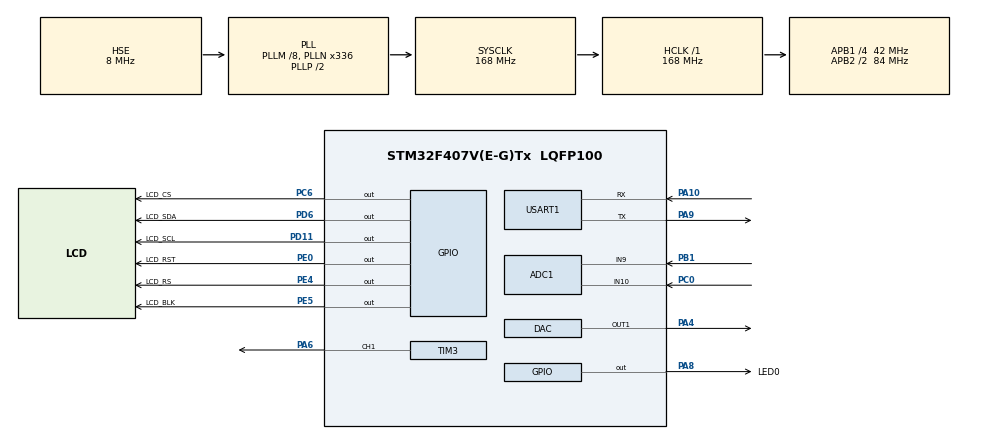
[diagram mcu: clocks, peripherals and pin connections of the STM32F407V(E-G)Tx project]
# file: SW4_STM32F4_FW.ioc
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ADC1.Channel-0\#ChannelRegularConversion=ADC_CHANNEL_9
ADC1.Channel-1\#ChannelRegularConversion=ADC_CHANNEL_10
ADC1.Channel-2\#ChannelRegularConversion=ADC_CHANNEL_TEMPSENSOR
ADC1.ContinuousConvMode=ENABLE
ADC1.DMAContinuousRequests=ENABLE
ADC1.NbrOfConversion=3
ADC1.NbrOfConversionFlag=1
ADC1.Rank-0\#ChannelRegularConversion=1
ADC1.Rank-1\#ChannelRegularConversion=2
ADC1.Rank-2\#ChannelRegularConversion=3
ADC1.SamplingTime-0\#ChannelRegularConversion=ADC_SAMPLETIME_144CYCLES
ADC1.SamplingTime-1\#ChannelRegularConversion=ADC_SAMPLETIME_144CYCLES
ADC1.SamplingTime-2\#ChannelRegularConversion=ADC_SAMPLETIME_144CYCLES
ADC1.ScanConvMode=ENABLE
ADC1.master=1
DAC.DAC_Trigger=DAC_TRIGGER_T6_TRGO
DAC.TriangleAmplitude=DAC_TRIANGLEAMPLITUDE_4095
DAC.WaveGeneration=TriangleWaveGeneration
Dma.ADC1.0.Direction=DMA_PERIPH_TO_MEMORY
Dma.ADC1.0.FIFOMode=DMA_FIFOMODE_DISABLE
Dma.ADC1.0.Instance=DMA2_Stream0
Dma.ADC1.0.MemDataAlignment=DMA_MDATAALIGN_HALFWORD
Dma.ADC1.0.MemInc=DMA_MINC_ENABLE
Dma.ADC1.0.Mode=DMA_NORMAL
Dma.ADC1.0.PeriphDataAlignment=DMA_PDATAALIGN_HALFWORD
Dma.ADC1.0.PeriphInc=DMA_PINC_DISABLE
Dma.ADC1.0.Priority=DMA_PRIORITY_LOW
Dma.DAC1.1.Direction=DMA_MEMORY_TO_PERIPH
Dma.DAC1.1.FIFOMode=DMA_FIFOMODE_DISABLE
Dma.DAC1.1.Instance=DMA1_Stream5
Dma.DAC1.1.MemDataAlignment=DMA_MDATAALIGN_HALFWORD
Dma.DAC1.1.MemInc=DMA_MINC_ENABLE
Dma.DAC1.1.Mode=DMA_NORMAL
Dma.DAC1.1.PeriphDataAlignment=DMA_PDATAALIGN_HALFWORD
Dma.DAC1.1.PeriphInc=DMA_PINC_DISABLE
Dma.DAC1.1.Priority=DMA_PRIORITY_LOW
Dma.Request0=ADC1
Dma.Request1=DAC1
Mcu.Family=STM32F4
Mcu.Name=STM32F407V(E-G)Tx
Mcu.Package=LQFP100
NVIC.ADC_IRQn=true\:2\:0\:true\:false\:true\:true\:true
NVIC.DMA1_Stream5_IRQn=true\:1\:0\:true\:false\:true\:false\:true
NVIC.DMA2_Stream0_IRQn=true\:1\:0\:true\:false\:true\:false\:true
NVIC.PriorityGroup=NVIC_PRIORITYGROUP_4
NVIC.TIM3_IRQn=true\:2\:0\:true\:false\:true\:true\:true
NVIC.TIM6_DAC_IRQn=true\:2\:0\:true\:false\:true\:true\:true
NVIC.USART1_IRQn=true\:1\:0\:true\:false\:true\:true\:true
PA10.Mode=Asynchronous
PA10.Signal=USART1_RX
PA13.Mode=Serial_Wire
PA13.Signal=SYS_JTMS-SWDIO
PA14.Mode=Serial_Wire
PA14.Signal=SYS_JTCK-SWCLK
PA4.Signal=COMP_DAC1_group
PA6.Signal=S_TIM3_CH1
PA8.GPIO_Label=LED0
PA8.GPIO_PuPd=GPIO_PULLDOWN
PA8.PinState=GPIO_PIN_SET
PA8.Signal=GPIO_Output
PA9.Mode=Asynchronous
PA9.Signal=USART1_TX
PB1.Signal=ADCx_IN9
PC0.Signal=ADCx_IN10
PC14-OSC32_IN.Mode=LSE-External-Oscillator
PC14-OSC32_IN.Signal=RCC_OSC32_IN
PC15-OSC32_OUT.Mode=LSE-External-Oscillator
PC15-OSC32_OUT.Signal=RCC_OSC32_OUT
PC6.GPIO_Label=LCD_CS
PC6.GPIO_PuPd=GPIO_PULLUP
PC6.GPIO_Speed=GPIO_SPEED_FREQ_VERY_HIGH
PC6.PinState=GPIO_PIN_SET
PC6.Signal=GPIO_Output
PD11.GPIO_Label=LCD_SCL
PD11.GPIO_PuPd=GPIO_PULLUP
PD11.GPIO_Speed=GPIO_SPEED_FREQ_VERY_HIGH
PD11.PinState=GPIO_PIN_SET
PD11.Signal=GPIO_Output
PD6.GPIO_Label=LCD_SDA
PD6.GPIO_PuPd=GPIO_PULLUP
PD6.GPIO_Speed=GPIO_SPEED_FREQ_VERY_HIGH
PD6.PinState=GPIO_PIN_SET
PD6.Signal=GPIO_Output
PE0.GPIO_Label=LCD_RST
PE0.GPIO_PuPd=GPIO_PULLUP
PE0.GPIO_Speed=GPIO_SPEED_FREQ_VERY_HIGH
PE0.PinState=GPIO_PIN_SET
PE0.Signal=GPIO_Output
PE4.GPIO_Label=LCD_RS
PE4.GPIO_PuPd=GPIO_PULLUP
PE4.GPIO_Speed=GPIO_SPEED_FREQ_VERY_HIGH
PE4.PinState=GPIO_PIN_SET
PE4.Signal=GPIO_Output
PE5.GPIO_Label=LCD_BLK
PE5.GPIO_PuPd=GPIO_PULLUP
PE5.GPIO_Speed=GPIO_SPEED_FREQ_VERY_HIGH
PE5.PinState=GPIO_PIN_SET
PE5.Signal=GPIO_Output
PH0-OSC_IN.Mode=HSE-External-Oscillator
PH0-OSC_IN.Signal=RCC_OSC_IN
PH1-OSC_OUT.Mode=HSE-External-Oscillator
PH1-OSC_OUT.Signal=RCC_OSC_OUT
ProjectManager.HeapSize=0x200
ProjectManager.StackSize=0x400
ProjectManager.TargetToolchain=SW4STM32
RCC.48MHZClocksFreq_Value=84000000
RCC.AHBFreq_Value=168000000
RCC.APB1CLKDivider=RCC_HCLK_DIV4
RCC.APB1Freq_Value=42000000
RCC.APB1TimFreq_Value=84000000
RCC.APB2CLKDivider=RCC_HCLK_DIV2
RCC.APB2Freq_Value=84000000
RCC.APB2TimFreq_Value=168000000
RCC.CortexFreq_Value=168000000
RCC.HCLKFreq_Value=168000000
RCC.HSE_VALUE=8000000
RCC.HSI_VALUE=16000000
RCC.PLLM=8
RCC.PLLN=336
RCC.PLLSourceVirtual=RCC_PLLSOURCE_HSE
RCC.SYSCLKFreq_VALUE=168000000
RCC.SYSCLKSource=RCC_SYSCLKSOURCE_PLLCLK
RCC.VCOOutputFreq_Value=336000000
SH.ADCx_IN10.0=ADC1_IN10,IN10
SH.ADCx_IN9.0=ADC1_IN9,IN9
SH.COMP_DAC1_group.0=DAC_OUT1,DAC_OUT1
SH.S_TIM3_CH1.0=TIM3_CH1,PWM Generation1 CH1
TIM3.AutoReloadPreload=TIM_AUTORELOAD_PRELOAD_DISABLE
TIM3.Channel-PWM\ Generation1\ CH1=TIM_CHANNEL_1
TIM3.Period=999
TIM3.Prescaler=83
TIM3.Pulse-PWM\ Generation1\ CH1=0
TIM6.AutoReloadPreload=TIM_AUTORELOAD_PRELOAD_ENABLE
TIM6.Period=10
TIM6.TIM_MasterOutputTrigger=TIM_TRGO_UPDATE
USART1.VirtualMode=VM_ASYNC
VP_ADC1_TempSens_Input.Mode=IN-TempSens
VP_TIM3_VS_ClockSourceINT.Mode=Internal
VP_TIM6_VS_ClockSourceINT.Mode=Enable_Timer
board=custom

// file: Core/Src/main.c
/* USER CODE BEGIN Header */
/**
  ******************************************************************************
  * @file           : main.c
  * @brief          : Main program body
  ******************************************************************************
  * @attention
  *
  * <h2><center>&copy; Copyright (c) 2022 STMicroelectronics.
  * All rights reserved.</center></h2>
  *
  * This software component is licensed by ST under BSD 3-Clause license,
  * the "License"; You may not use this file except in compliance with the
  * License. You may obtain a copy of the License at:
  *                        opensource.org/licenses/BSD-3-Clause
  *
  ******************************************************************************
  */
/* USER CODE END Header */
#include "main.h"
#include "adc.h"
#include "dac.h"
#include "dma.h"
#include "tim.h"
#include "usart.h"
#include "gpio.h"

/* USER CODE BEGIN Includes */
#include "delay.h"
#include "GUI.h"
#include "Lcd_Driver.h"
#include "adc_function.h"
#include "ntc.h"
/* USER CODE END Includes */

/* USER CODE BEGIN PV */
volatile uint16_t pluse = 0;
__IO uint8_t uart1_rx_buf[5];
__IO uint8_t Rx_Flag;
/* USER CODE END PV */

void SystemClock_Config(void);

int main(void)
{

    /* MCU Configuration--------------------------------------------------------*/

    /* Reset of all peripherals, Initializes the Flash interface and the Systick. */
    HAL_Init();

    /* Configure the system clock */
    SystemClock_Config();

    /* Initialize all configured peripherals */
    MX_GPIO_Init();
    MX_DMA_Init();
    MX_ADC1_Init();
    MX_DAC_Init();
    MX_TIM6_Init();
    MX_TIM3_Init();
    MX_USART1_UART_Init();
    /* USER CODE BEGIN 2 */
    //初始化液晶屏以及延时函数
    delay_init(168);
    Lcd_Init();
    LCD_BLK_SET;//开启背光
    Lcd_Clear(BLACK);
    //启动定时器
    HAL_TIM_PWM_Start(&htim3, TIM_CHANNEL_1);
    HAL_TIM_Base_Start_IT(&htim3);
    HAL_TIM_Base_Start(&htim6);
    //启动ADC&&DAC
    HAL_DAC_Start(&hdac, DAC_CHANNEL_1);
    HAL_ADC_Start_DMA(&hadc1, (uint32_t *) &ADC_Value, 384);
    //绘制静态数据
    Gui_DrawFont_GBK16(0, 0, YELLOW, BLACK, "LLHAO-FW1");
    Gui_DrawFont_GBK16(0, 20, YELLOW, BLACK, "MCU_TEMP:");
    Gui_DrawFont_GBK16(100, 20, YELLOW, BLACK, "℃");
    Gui_DrawFont_GBK16(0, 36, YELLOW, BLACK, "NTC_TEMP:");
    Gui_DrawFont_GBK16(100, 36, YELLOW, BLACK, "℃");
    Gui_DrawFont_GBK16(0, 66, YELLOW, BLACK, "WAVE");
    //启动串口
    HAL_UART_Receive_IT(&huart1, (uint8_t *) uart1_rx_buf, 5);
    /* USER CODE END 2 */

    /* Infinite loop */
    while (1)
    {

        /* USER CODE BEGIN 3 */
        delay_ms(8);
        //Lcd_custer_Clear(128, 160, 0, 50, BLACK);
        HAL_ADC_Stop_DMA(&hadc1);
        //采样&&发生
        ADC_FUNCTION();
        TEMP_DATA();
        //温度显示
        LCD_ShowNum(77, 20, MCU_TEMP, 2);//芯片温度
        LCD_ShowNum(77, 36, NTC_TEMP, 2);//NTC温度
        //绘制波形&&局部清屏
        LCD_DrawWave(ADC_IN10_Value, 1, 159, 55, YELLOW);
        //DMA校正
        HAL_ADC_Start_DMA(&hadc1, (uint32_t *) &ADC_Value, 384);

        //串口数据测试
        if (Rx_Flag == 1)
        {
            HAL_UART_Transmit_IT(&huart1, (uint8_t *) uart1_rx_buf, 5);
            Rx_Flag = 0;
            HAL_UART_Receive_IT(&huart1, (uint8_t *) uart1_rx_buf, 5);
        }
    }
    /* USER CODE END 3 */
}

void SystemClock_Config(void)
{
    RCC_OscInitTypeDef RCC_OscInitStruct = {0};
    RCC_ClkInitTypeDef RCC_ClkInitStruct = {0};

    /** Configure the main internal regulator output voltage
    */
    __HAL_RCC_PWR_CLK_ENABLE();
    __HAL_PWR_VOLTAGESCALING_CONFIG(PWR_REGULATOR_VOLTAGE_SCALE1);
    /** Initializes the RCC Oscillators according to the specified parameters
    * in the RCC_OscInitTypeDef structure.
    */
    RCC_OscInitStruct.OscillatorType = RCC_OSCILLATORTYPE_HSE;
    RCC_OscInitStruct.HSEState = RCC_HSE_ON;
    RCC_OscInitStruct.PLL.PLLState = RCC_PLL_ON;
    RCC_OscInitStruct.PLL.PLLSource = RCC_PLLSOURCE_HSE;
    RCC_OscInitStruct.PLL.PLLM = 8;
    RCC_OscInitStruct.PLL.PLLN = 336;
    RCC_OscInitStruct.PLL.PLLP = RCC_PLLP_DIV2;
    RCC_OscInitStruct.PLL.PLLQ = 4;
    if (HAL_RCC_OscConfig(&RCC_OscInitStruct) != HAL_OK)
    {
        Error_Handler();
    }
    /** Initializes the CPU, AHB and APB buses clocks
    */
    RCC_ClkInitStruct.ClockType = RCC_CLOCKTYPE_HCLK | RCC_CLOCKTYPE_SYSCLK
                                  | RCC_CLOCKTYPE_PCLK1 | RCC_CLOCKTYPE_PCLK2;
    RCC_ClkInitStruct.SYSCLKSource = RCC_SYSCLKSOURCE_PLLCLK;
    RCC_ClkInitStruct.AHBCLKDivider = RCC_SYSCLK_DIV1;
    RCC_ClkInitStruct.APB1CLKDivider = RCC_HCLK_DIV4;
    RCC_ClkInitStruct.APB2CLKDivider = RCC_HCLK_DIV2;

    if (HAL_RCC_ClockConfig(&RCC_ClkInitStruct, FLASH_LATENCY_5) != HAL_OK)
    {
        Error_Handler();
    }
}

/* USER CODE BEGIN 4 */
void HAL_TIM_PeriodElapsedCallback(TIM_HandleTypeDef *htim)
{
    if (htim->Instance == TIM3)
    {
        if (pluse < 1000)
        {
            pluse++;
        } else
        {
            pluse = 0;
            HAL_GPIO_TogglePin(LED0_GPIO_Port, LED0_Pin);//清零提示
        }

        __HAL_TIM_SET_COMPARE(&htim3, TIM_CHANNEL_1, pluse);

    }

}

void HAL_UART_RxCpltCallback(UART_HandleTypeDef *huart)
{
    Rx_Flag = 1;
}
/* USER CODE END 4 */

void Error_Handler(void)
{
    __disable_irq();
    while (1)
    {
    }
}

/************************ (C) COPYRIGHT STMicroelectronics *****END OF FILE****/
